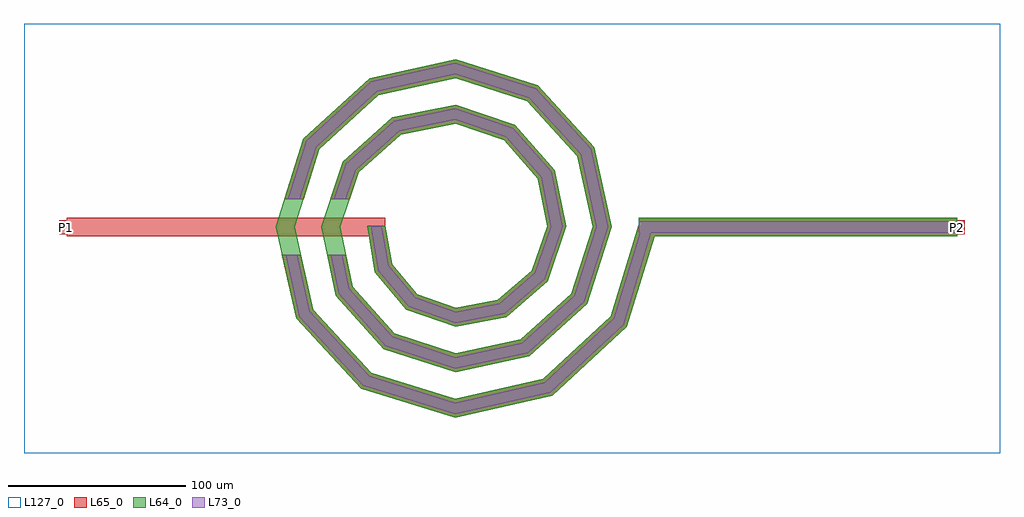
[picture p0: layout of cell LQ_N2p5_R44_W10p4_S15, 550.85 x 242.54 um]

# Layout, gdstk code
import gdstk
lib = gdstk.Library(unit=1e-6, precision=1e-09)
def R(c, l, rs):  # rectangles x0, y0, x1, y1
    for r in rs: c.add(gdstk.rectangle(r[:2], r[2:], *l))
def P(c, l, *ps):  # polygons
    for p in ps: c.add(gdstk.Polygon(p, *l))
L64_0 = (64, 0)
L65_0 = (65, 0)
L73_0 = (73, 0)
L127_0 = (127, 0)

lq_n2p5_r44_w10p4_s15 = lib.new_cell('LQ_N2p5_R44_W10p4_S15')
R(lq_n2p5_r44_w10p4_s15, L64_0, [(103.538,-5.2,283.538,5.2)])
P(lq_n2p5_r44_w10p4_s15, L64_0, [(-35.521,-21.039),(-21.33,-37.824),(0.421,-45.561),(24.201,-41.108),(43.358,-24.584),(51.981,0.374),(46.69,27.373),(27.829,48.898),(0.337,58.402),(-30.553,52.268),(-54.443,31.068),(-64.823,0.306),(-57.844,-33.739),(-34.303,-59.991),(0.28,-71.245),(36.929,-63.418),(65.541,-37.533),(77.668,0.259),(68.99,40.123),(40.761,71.093),(0.24,84.09),(-43.319,74.561),(-76.647,43.987),(-90.513,0.224),(-80.131,-46.517),(-47.211,-82.202),(0.21,-96.935),(49.716,-85.7),(87.757,-50.434),(103.769,1.531),(113.708,-1.531),(96.874,-56.163),(54.74,-95.224),(0.21,-107.695),(-52.963,-91.305),(-89.668,-51.516),(-101.271,0.224),(-85.735,49.764),(-48.291,84.112),(0.24,94.848),(46.566,80.163),(78.558,45.064),(88.424,0.259),(74.59,-43.371),(41.834,-73.005),(0.28,-82),(-40.179,-69.015),(-67.453,-38.601),(-75.575,0.306),(-63.438,36.99),(-35.364,61.904),(0.337,69.151),(33.806,57.857),(56.357,32.121),(62.725,0.374),(52.272,-30.628),(28.87,-50.814),(0.421,-56.299),(-27.459,-46.681),(-45.276,-25.609),(-49.628,0.902),(-39.386,0.902)])
R(lq_n2p5_r44_w10p4_s15, L65_0, [(-219.307,-5.2,-39.307,5.2), (103.538,-5.2,283.538,5.2), (-223.307,-4,-215.307,4), (279.538,-4,287.538,4)])
P(lq_n2p5_r44_w10p4_s15, L65_0, [(-80.131,-46.517),(-47.211,-82.202),(0.21,-96.935),(49.716,-85.7),(87.757,-50.434),(103.769,1.531),(113.708,-1.531),(96.875,-56.163),(54.74,-95.224),(0.21,-107.695),(-52.963,-91.305),(-89.668,-51.516),(-97.723,-15.6),(-87.064,-15.6)],
  [(-57.844,-33.739),(-34.303,-59.991),(0.28,-71.245),(36.929,-63.418),(65.541,-37.533),(77.668,0.259),(68.99,40.123),(40.762,71.093),(0.24,84.09),(-43.319,74.561),(-76.647,43.987),(-85.55,15.6),(-96.449,15.6),(-85.735,49.764),(-48.291,84.112),(0.24,94.848),(46.566,80.163),(78.558,45.064),(88.424,0.259),(74.59,-43.371),(41.834,-73.005),(0.28,-82),(-40.179,-69.015),(-67.453,-38.601),(-72.255,-15.6),(-61.631,-15.6)],
  [(-21.33,-37.824),(0.421,-45.561),(24.201,-41.108),(43.358,-24.584),(51.981,0.374),(46.69,27.373),(27.829,48.898),(0.337,58.402),(-30.553,52.268),(-54.443,31.068),(-59.561,15.6),(-70.515,15.6),(-63.438,36.99),(-35.364,61.904),(0.337,69.151),(33.806,57.857),(56.357,32.121),(62.725,0.374),(52.272,-30.629),(28.871,-50.814),(0.421,-56.299),(-27.459,-46.681),(-45.276,-25.609),(-49.628,0.902),(-39.386,0.902),(-35.521,-21.039)])
R(lq_n2p5_r44_w10p4_s15, L73_0, [(103.538,-3.2,283.538,3.2)])
P(lq_n2p5_r44_w10p4_s15, L73_0, [(-81.965,-47.478),(-48.317,-83.952),(0.129,-99.004),(50.682,-87.531),(89.511,-51.536),(105.68,0.942),(111.796,0.942),(95.121,-55.062),(53.774,-93.392),(0.129,-105.626),(-51.857,-89.554),(-87.834,-50.555),(-95.673,-15.6),(-89.114,-15.6)],
  [(-59.692,-34.674),(-35.433,-61.726),(0.173,-73.314),(37.873,-65.262),(67.281,-38.656),(79.736,0.159),(70.83,41.073),(41.878,72.837),(0.148,86.159),(-44.275,76.398),(-78.394,45.098),(-87.646,15.6),(-94.353,15.6),(-83.987,48.653),(-47.335,82.275),(0.148,92.779),(45.45,78.419),(76.718,44.114),(86.355,0.159),(72.85,-42.249),(40.891,-71.161),(0.173,-79.932),(-39.049,-67.28),(-65.605,-37.666),(-70.212,-15.6),(-63.674,-15.6)],
  [(-22.508,-39.527),(0.259,-47.626),(25.099,-42.974),(45.072,-25.746),(54.047,0.23),(48.549,28.286),(28.978,50.621),(0.207,60.469),(-31.479,54.121),(-56.173,32.207),(-61.667,15.6),(-68.409,15.6),(-61.708,35.851),(-34.439,60.051),(0.207,67.084),(32.657,56.134),(54.498,31.208),(60.659,0.23),(50.558,-29.466),(27.972,-48.947),(0.259,-54.234),(-26.281,-44.978),(-43.4,-24.73),(-47.658,0.555),(-41.355,0.555),(-37.397,-21.918)])
R(lq_n2p5_r44_w10p4_s15, L127_0, [(-243.307,-127.695,307.538,114.848)])
lq_n2p5_r44_w10p4_s15.add(gdstk.Label('P2', (283.538,0), layer=65, texttype=0))
lq_n2p5_r44_w10p4_s15.add(gdstk.Label('P1', (-219.307,0), layer=65, texttype=0))
lq_n2p5_r44_w10p4_s15.add(gdstk.Label('P2', (287.538,0), layer=145, texttype=0))
lq_n2p5_r44_w10p4_s15.add(gdstk.Label('P1', (-223.307,0), layer=145, texttype=0))

lib.write_gds('LQ_N2p5_R44_W10p4_S15.gds')
